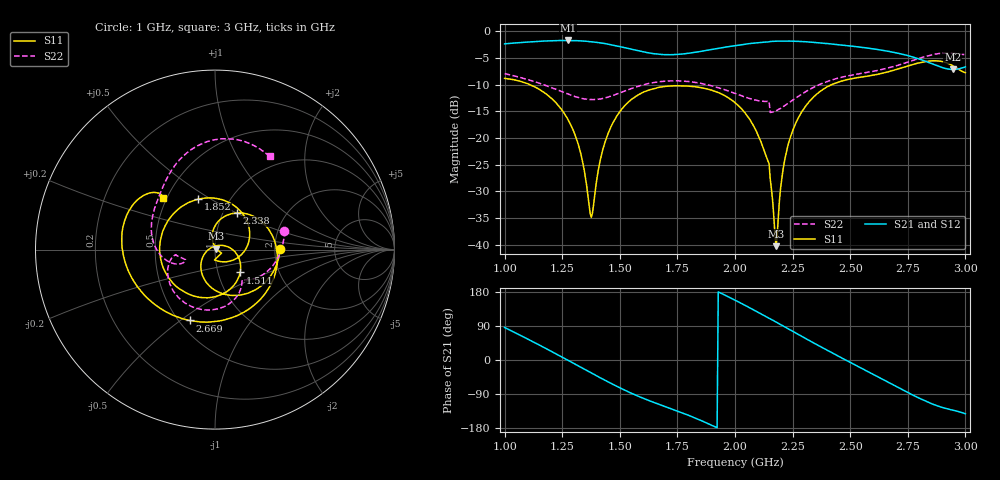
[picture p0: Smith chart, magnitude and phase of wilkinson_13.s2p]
#  HZ  S  DB  R  50.00
! Rohde & Schwarz Vector Network Analyzer
! Rohde-Schwarz,ZND-2Port,1328517092100682,2.70
! Created: UTC 11/29/2017, 5:38:45 PM
! freq[Hz]  db:S11  ang:S11  db:S21  ang:S21  db:S12  ang:S12  db:S22  ang:S22
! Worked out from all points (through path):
!   400 points, 1 GHz to 3 GHz, reference 50 ohm
!   highest |S21| = -1.74 dB at 1.276 GHz (marker M1); lowest = -7.2 dB at 2.945 GHz (marker M2)
!   group delay of S21, straight-line fit = 830 ps
!   lowest |S11| = -40.2 dB at 2.178 GHz (marker M3), VSWR 1.02, Z = 50.8 + j0.562 ohm
!   |S11| at or under -10 dB: 1.109 GHz to 2.421 GHz (1.311 GHz wide, 74.3 % of centre)
!   |S22| runs from -15.2 to -4.1 dB; largest |S21 - S12| = 0.0016
!   S11 on the Smith chart (normalised r, x): 1 GHz: 2.13, +0.01; 1.511 GHz: 1.28, -0.34; 1.852 GHz: 0.72, +0.44; 2.338 GHz: 1.16, +0.50; 2.669 GHz: 0.57, -0.54; 3 GHz: 0.48, +0.33
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1e9  -8.84 0.2  -2.38 85.9  -2.37 85.9  -7.95 15.3
1.140351e9  -10.65 -58.9  -1.92 42.7  -1.93 42.7  -9.60 -16.7
1.275689e9  -16.60 -120.3  -1.74 -0.9  -1.74 -0.9  -11.75 -40.4
1.33584e9  -23.94 -157.3  -1.83 -20.8  -1.84 -20.8  -12.60 -45.8
1.37594e9  -34.85 112.0  -1.97 -34.1  -1.97 -34.1  -12.79 -47.7
1.431078e9  -21.43 6.2  -2.30 -52.0  -2.30 -52.0  -12.53 -50.5
1.511278e9  -14.46 -42.3  -2.99 -76.7  -2.98 -76.7  -11.36 -59.1
1.666667e9  -10.54 -135.1  -4.30 -116.3  -4.30 -116.3  -9.50 -92.1
1.75188e9  -10.22 170.3  -4.35 -135.1  -4.35 -135.0  -9.31 -113.2
1.85213e9  -10.57 108.2  -3.78 -159.5  -3.78 -159.5  -9.78 -137.2
2.002506e9  -13.46 24.3  -2.69 157.2  -2.69 157.3  -11.68 -165.2
2.14787e9  -24.78 -92.9  -2.00 110.1  -2.00 110.1  -13.15 -171.9
2.177945e9  -40.24 34.6  -1.88 100.2  -1.88 100.2  -14.89 -158.6
2.197995e9  -29.35 104.1  -1.86 93.4  -1.86 93.3  -14.44 -157.5
2.22807e9  -21.70 101.2  -1.85 83.1  -1.85 83.1  -13.58 -157.7
2.333333e9  -12.66 61.0  -2.07 47.7  -2.08 47.6  -10.68 -171.0
2.338346e9  -12.45 58.8  -2.09 46.0  -2.09 46.0  -10.56 -172.0
2.508772e9  -8.87 -20.5  -2.81 -9.2  -2.82 -9.2  -8.22 154.7
2.669173e9  -7.55 -109.6  -3.80 -60.4  -3.80 -60.4  -6.82 129.4
2.809524e9  -5.82 -176.3  -5.36 -103.6  -5.36 -103.6  -4.96 105.2
2.944862e9  -6.46 138.1  -7.17 -132.3  -7.17 -132.3  -4.13 72.0
3e9  -7.76 135.5  -6.69 -141.9  -6.68 -142.0  -4.41 59.6
